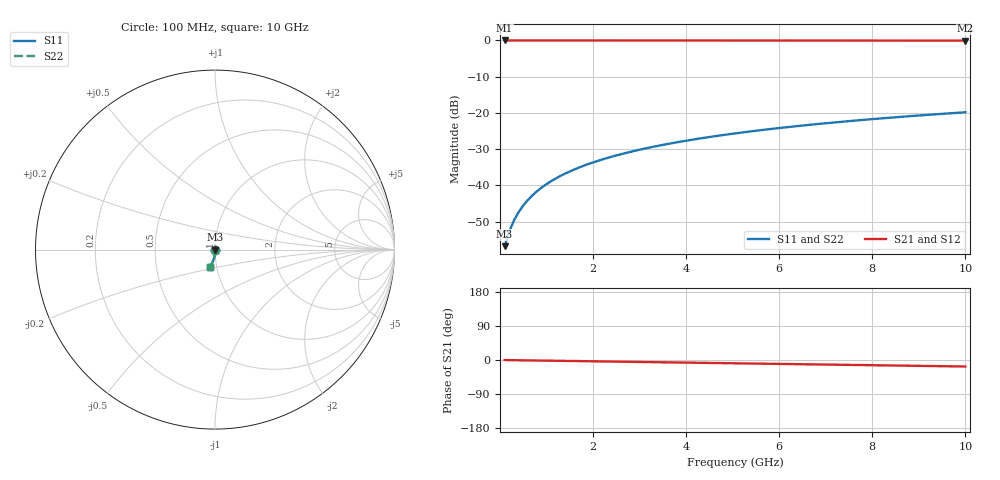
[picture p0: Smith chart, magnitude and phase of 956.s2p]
# Hz S RI R 50.00
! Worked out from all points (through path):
!   100 points, 100 MHz to 10 GHz, reference 50 ohm
!   highest |S21| = -0.01 dB at 100 MHz (marker M1); lowest = -0.1 dB at 10 GHz (marker M2)
!   group delay of S21, straight-line fit = 4.77 ps
!   lowest |S11| = -56.8 dB at 100 MHz (marker M3), VSWR 1.00, Z = 50.1 - j0.104 ohm
!   |S11| at or under -10 dB: start of sweep to end of sweep
!   |S22| runs from -56.8 to -19.8 dB; largest |S21 - S12| = 0
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1e8  0.00101 -0.00104  0.999 -0.003  0.999 -0.003  0.00101 -0.00104
2e8  0.00101 -0.00208  0.999 -0.00599  0.999 -0.00599  0.00101 -0.00208
3e8  0.000995 -0.00311  0.9989 -0.00899  0.9989 -0.00899  0.000995 -0.00311
4e8  0.000975 -0.00415  0.9989 -0.012  0.9989 -0.012  0.000975 -0.00415
5e8  0.000949 -0.00519  0.9988 -0.015  0.9988 -0.015  0.000949 -0.00519
6e8  0.000916 -0.00623  0.9988 -0.018  0.9988 -0.018  0.000916 -0.00623
7e8  0.000876 -0.00727  0.9987 -0.021  0.9987 -0.021  0.000876 -0.00727
9e8  0.000778 -0.00934  0.9985 -0.027  0.9985 -0.027  0.000778 -0.00934
1e9  0.00072 -0.0104  0.9984 -0.03  0.9984 -0.03  0.00072 -0.0104
1.2e9  0.000583 -0.0124  0.9982 -0.036  0.9982 -0.036  0.000583 -0.0124
1.5e9  0.000332 -0.0156  0.9978 -0.0449  0.9978 -0.0449  0.000332 -0.0156
1.8e9  2.39e-05 -0.0187  0.9973 -0.0539  0.9973 -0.0539  2.39e-05 -0.0187
2.1e9  -0.00034 -0.0217  0.9967 -0.0629  0.9967 -0.0629  -0.00034 -0.0217
2.5e9  -0.000912 -0.0259  0.9957 -0.0748  0.9957 -0.0748  -0.000912 -0.0259
2.9e9  -0.00158 -0.03  0.9946 -0.0868  0.9946 -0.0868  -0.00158 -0.03
3.4e9  -0.00256 -0.0351  0.993 -0.1017  0.993 -0.1017  -0.00256 -0.0351
4.2e9  -0.00444 -0.0432  0.99 -0.1254  0.99 -0.1254  -0.00444 -0.0432
5.1e9  -0.00701 -0.0521  0.9857 -0.152  0.9857 -0.152  -0.00701 -0.0521
5.9e9  -0.00971 -0.06  0.9813 -0.1755  0.9813 -0.1755  -0.00971 -0.06
6.7e9  -0.0128 -0.0677  0.9763 -0.1989  0.9763 -0.1989  -0.0128 -0.0677
8.4e9  -0.0205 -0.0836  0.9636 -0.2479  0.9636 -0.2479  -0.0205 -0.0836
1e10  -0.0292 -0.0977  0.9491 -0.2933  0.9491 -0.2933  -0.0292 -0.0977
